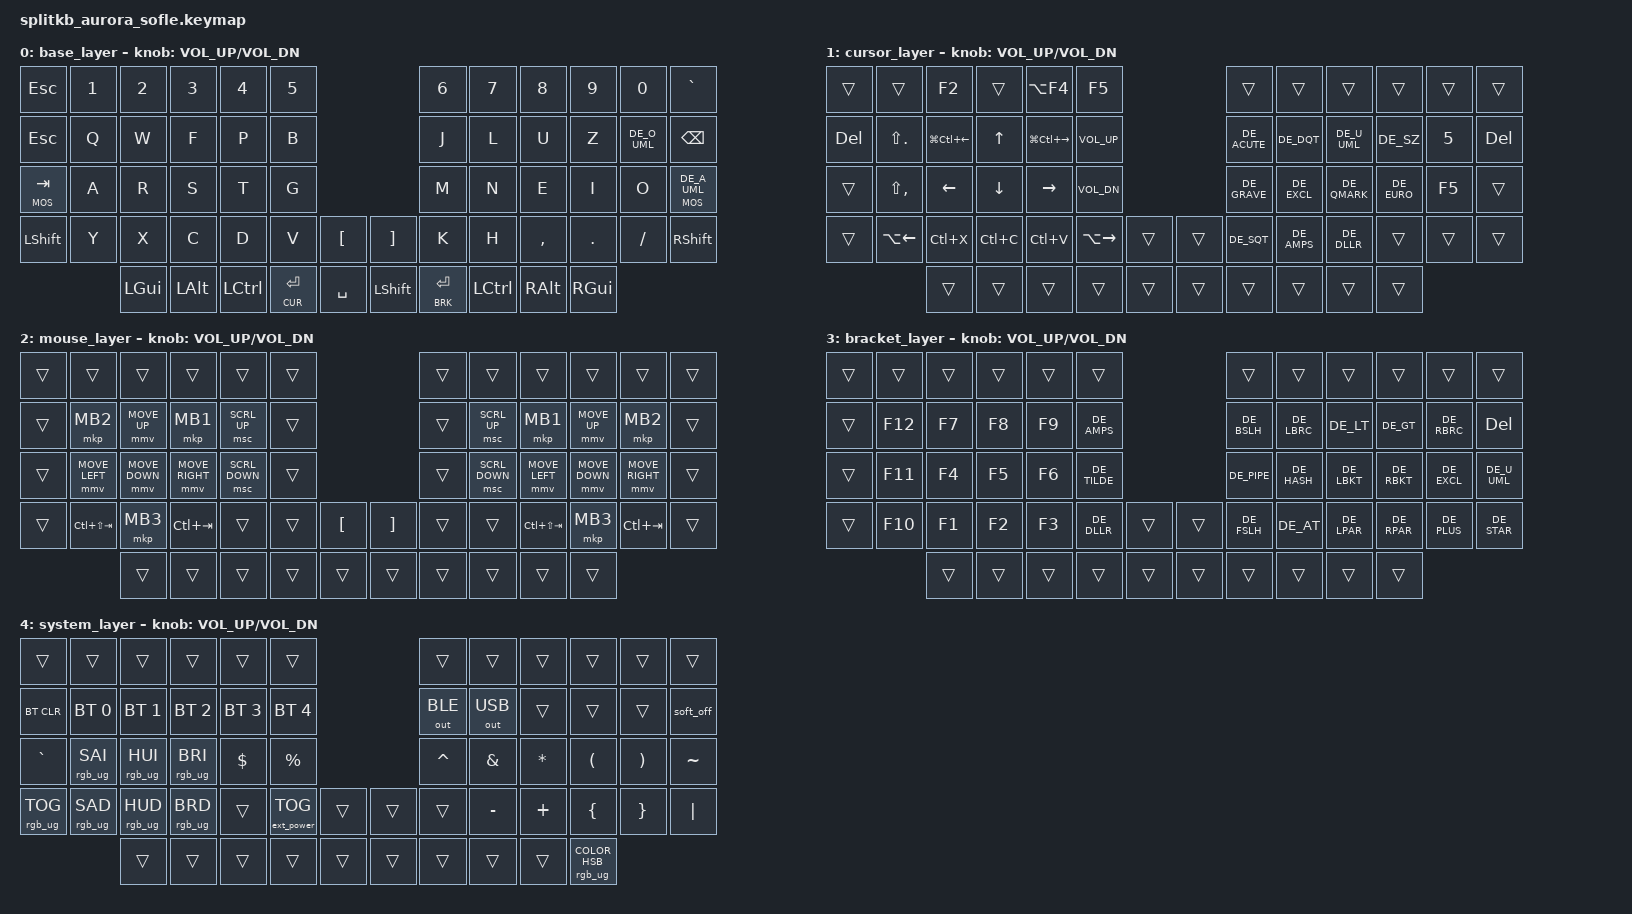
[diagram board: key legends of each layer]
/*
 * Copyright (c) 2023 The ZMK Contributors
 *
 * SPDX-License-Identifier: MIT
 */

#include <behaviors.dtsi>
#include <dt-bindings/zmk/keys.h>
#include <dt-bindings/zmk/bt.h>
#include <dt-bindings/zmk/ext_power.h>
#include <dt-bindings/zmk/rgb.h>
#include <dt-bindings/zmk/outputs.h>
#include "keys_de.h"

// Here are my Adds

#define ZMK_POINTING_DEFAULT_MOVE_VAL 1300  // default: 600
#define ZMK_POINTING_DEFAULT_SCRL_VAL 20    // default: 10

#include <dt-bindings/zmk/pointing.h>

// Uncomment this block if using RGB
// &led_strip {
//     // chain-length = <6>;
//     chain-length = <35>; // Uncomment if using both per-key and underglow LEDs
//     // chain-length = <29>; // Uncomment if using only per-key LEDs.
// };

#define BAS 0
#define CUR 1
#define MOS 2
#define BRK 3
#define SYS 4

#define DSK_PR  &kp LG(LC(LEFT)) // Previous desktop.
#define DSK_NX  &kp LG(LC(RIGHT)) // Next     desktop.

/ {
    // Activate SYS layer by pressing CUR and MOS

    conditional_layers {
        compatible = "zmk,conditional-layers";

        system_layer {
            if-layers = <CUR MOS>;
            then-layer = <SYS>;
        };
    };



    keymap {
        compatible = "zmk,keymap";

        base_layer {
// ------------------------------------------------------------------------------------------------------------
// |  ESC   |  1  |  2  |  3   |  4   |   5   |                   |   6   |  7    |  8    |  9   |   0   |   `   |
// |  ESC   |  Q  |  W  |  F   |  P   |   B   |                   |   J   |  L    |  U    |  Z   |   ö   |  BSPC |
// |MOS-TAB |  A  |  R  |  S   |  T   |   G   |                   |   M   |  N    |  E    |  I   |   O   | MOS-ä |
// | SHIFT  |  Y  |  X  |  C   |  D   |   V   |   "["  |  |  "]"  |   K   |  H    |  ,    |  .   |   /   | SHIFT |
//                |LGUI | ALT  | CTRL |CUR-RET|  SPACE |  | SHiFT |BRK-RET| CTRL  | RALT  | RGUI |
    bindings = <
        &kp ESC     &kp N1 &kp N2    &kp N3   &kp N4    &kp N5                            &kp N6      &kp N7    &kp N8    &kp N9   &kp N0       &kp GRAVE
        &kp ESC     &kp Q  &kp W     &kp F    &kp P     &kp B                             &kp J       &kp L     &kp U     &kp Z    &kp DE_O_UML &kp BSPC
        &lt MOS TAB &kp A  &kp R     &kp S    &kp T     &kp G                             &kp M       &kp N     &kp E     &kp I    &kp O        &lt MOS DE_A_UML
        &kp LSHFT   &kp Y  &kp X     &kp C    &kp D     &kp V        &kp LBKT   &kp RBKT  &kp K       &kp H     &kp COMMA &kp DOT  &kp FSLH     &kp RSHFT
                           &kp LGUI  &kp LALT &kp LCTRL &lt CUR RET  &kp SPACE  &kp LSHFT &lt BRK RET &kp LCTRL &kp RALT  &kp RGUI
    >;

    sensor-bindings = <&inc_dec_kp C_VOL_UP C_VOL_DN>;

    };


        cursor_layer {
// ------------------------------------------------------------------------------------------------------------
// |       |     |  F2  |      |AltF4 | F5   |                   |      |       |       |      |       |       |
// |  DEL  |YTsp+|DskPrv|   ^  |DskNxt| VolUP|                   |FwTick|  DQT  |  ü    |   ß  |       |  DEL  |
// |       |YTsp-| <-   |   v  |  ->  | VolDN|                   |BkTick|  !    |  ?    |   €  |       |       |
// |       |Alt< | CtX  | CtC  | CtV  | Alt> |        |  |       |  SQT |  &    |  $    |      |       |       |
//               |      |      |      |      |        |  |       |      |       |       |      |
            bindings = <
&trans      &trans        &kp F2     &trans    &kp LA(F4) &kp F5                         &trans       &trans      &trans       &trans      &trans  &trans                       
&kp DEL     &kp LS(DOT)   DSK_PR     &kp UP    DSK_NX     &kp C_VOL_UP                   &kp DE_ACUTE &kp DE_DQT  &kp DE_U_UML &kp DE_SZ   &kp N5  &kp DEL
&trans      &kp LS(COMMA) &kp LEFT   &kp DOWN  &kp RIGHT  &kp C_VOL_DN                   &kp DE_GRAVE &kp DE_EXCL &kp DE_QMARK &kp DE_EURO &kp F5  &trans
&trans      &kp LA(LEFT)  &kp LC(X)  &kp LC(C) &kp LC(V)  &kp LA(RIGHT) &trans &trans    &kp DE_SQT   &kp DE_AMPS &kp DE_DLLR  &trans      &trans  &trans
                          &trans     &trans    &trans     &trans        &trans &trans    &trans       &trans      &trans       &trans
            >;

            sensor-bindings = <&inc_dec_kp C_VOL_UP C_VOL_DN>;
        };

        mouse_layer {
// ------------------------------------------------------------------------------------------------------------
// |       |     |     |      |      |      |                   |      |       |       |      |       |       |
// | trans |Mcl2 |Mup  |Mcl1  |scrlU |      |                   |      |scrlU  |Mcl1   |Mup   |Mcl2   | trans |
// | trans |Mlft |Mdwn |Mrght |scrlD |      |                   |      |scrlD  |Mlft   |Mdwn  |Mrght  | trans |
// | trans |tabL |Mcl3 |tabR  |      |      |   "["  |  |  "]"  |      |       |tabL   |Mcl3  |tabR   | trans |
//               |LGUI | ALT  | CTRL |L1-RET|  SPACE |  | SHiFT |L2-RET| CTRL  | RALT  | RGUI |
    bindings = <
&trans    &trans          &trans         &trans          &trans         &trans                         &trans      &trans         &trans          &trans         &trans          &trans
&trans    &mkp MB2        &mmv MOVE_UP   &mkp MB1        &msc SCRL_UP   &trans                         &trans      &msc SCRL_UP   &mkp MB1        &mmv MOVE_UP   &mkp MB2        &trans
&trans    &mmv MOVE_LEFT  &mmv MOVE_DOWN &mmv MOVE_RIGHT &msc SCRL_DOWN &trans                         &trans      &msc SCRL_DOWN &mmv MOVE_LEFT  &mmv MOVE_DOWN &mmv MOVE_RIGHT &trans
&trans    &kp LC(LS(TAB)) &mkp MB3       &kp LC(TAB)     &trans         &trans    &kp LBKT   &kp RBKT  &trans      &trans         &kp LC(LS(TAB)) &mkp MB3       &kp LC(TAB)     &trans
                          &trans         &trans          &trans         &trans    &trans     &trans    &trans      &trans         &trans          &trans
    >;

    sensor-bindings = <&inc_dec_kp C_VOL_UP C_VOL_DN>;
    };
        
        bracket_layer {
// ------------------------------------------------------------------------------------------------------------
// |       |     |     |      |      |      |                   |      |       |       |      |       |       |
// |       | F12 |  F7 |  F8  |  F9  |  &   |                   |  \   |   {   |   <   |  >   |   }   |  DEL  |
// |       | F11 |  F4 |  F5  |  F6  |  ~   |                   |  |   |   #   |   [   |  ]   |   !   |   ü   |
// |       | F10 |  F1 |  F2  |  F3  |  $   |        |  |       |  /   |   @   |   (   |  )   |   +   |   *   |
//               |     |      |      |      |        |  |       |      |       |       |      |
            bindings = <
&trans    &trans  &trans &trans &trans &trans                           &trans      &trans      &trans      &trans      &trans      &trans
&trans    &kp F12 &kp F7 &kp F8 &kp F9 &kp DE_AMPS                      &kp DE_BSLH &kp DE_LBRC &kp DE_LT   &kp DE_GT   &kp DE_RBRC &kp DEL
&trans    &kp F11 &kp F4 &kp F5 &kp F6 &kp DE_TILDE                     &kp DE_PIPE &kp DE_HASH &kp DE_LBKT &kp DE_RBKT &kp DE_EXCL  &kp DE_U_UML
&trans    &kp F10 &kp F1 &kp F2 &kp F3 &kp DE_DLLR   &trans   &trans    &kp DE_FSLH &kp DE_AT   &kp DE_LPAR &kp DE_RPAR &kp DE_PLUS &kp DE_STAR
                  &trans &trans &trans &trans        &trans   &trans    &trans      &trans      &trans      &trans
            >;

            sensor-bindings = <&inc_dec_kp C_VOL_UP C_VOL_DN>;
        };

        system_layer {
// ------------------------------------------------------------------------------------------------------------
// |       |     |     |      |      |      |                   |      |       |       |      |       |       |
// | BTCLR | BT1 | BT2 |  BT3 |  BT4 |  BT5 |                   |BLEout|USBout |       |      |       |SOFT_OFF|
// |   `   | SAi | HUi | BRi  |  $   |  %   |                   |  ^   |  &    |  *    |  (   |   )   |    ~   |
// | RGBTG | SAd | HUd | BRd  |      |PowTG |        |  |       |      |  _    |  +    |  {   |   }   |   "|"  |
//               |     |      |      |      |        |  |       |      |       |       | ColF |
            bindings = <
&trans          &trans          &trans         &trans             &trans       &trans                                &trans       &trans       &trans    &trans    &trans    &trans
&bt BT_CLR      &bt BT_SEL 0    &bt BT_SEL 1    &bt BT_SEL 2      &bt BT_SEL 3 &bt BT_SEL 4                          &out OUT_BLE &out OUT_USB &trans    &trans    &trans    &soft_off
&kp GRAVE       &rgb_ug RGB_SAI &rgb_ug RGB_HUI &rgb_ug RGB_BRI   &kp DOLLAR   &kp PRCNT                             &kp CARET    &kp AMPS     &kp STAR  &kp LPAR  &kp RPAR  &kp TILDE
&rgb_ug RGB_TOG &rgb_ug RGB_SAD &rgb_ug RGB_HUD &rgb_ug RGB_BRD   &trans       &ext_power EP_TOG  &trans   &trans    &trans       &kp MINUS    &kp PLUS  &kp LBRC  &kp RBRC  &kp PIPE
                                &trans          &trans            &trans       &trans             &trans   &trans    &trans       &trans       &trans    &rgb_ug RGB_COLOR_HSB(240, 80, 10)
            >;

            sensor-bindings = <&inc_dec_kp C_VOL_UP C_VOL_DN>;
        };

        extra2 {
            status = "reserved";
        };
        
        extra3 {
            status = "reserved";
        };
    };
};
